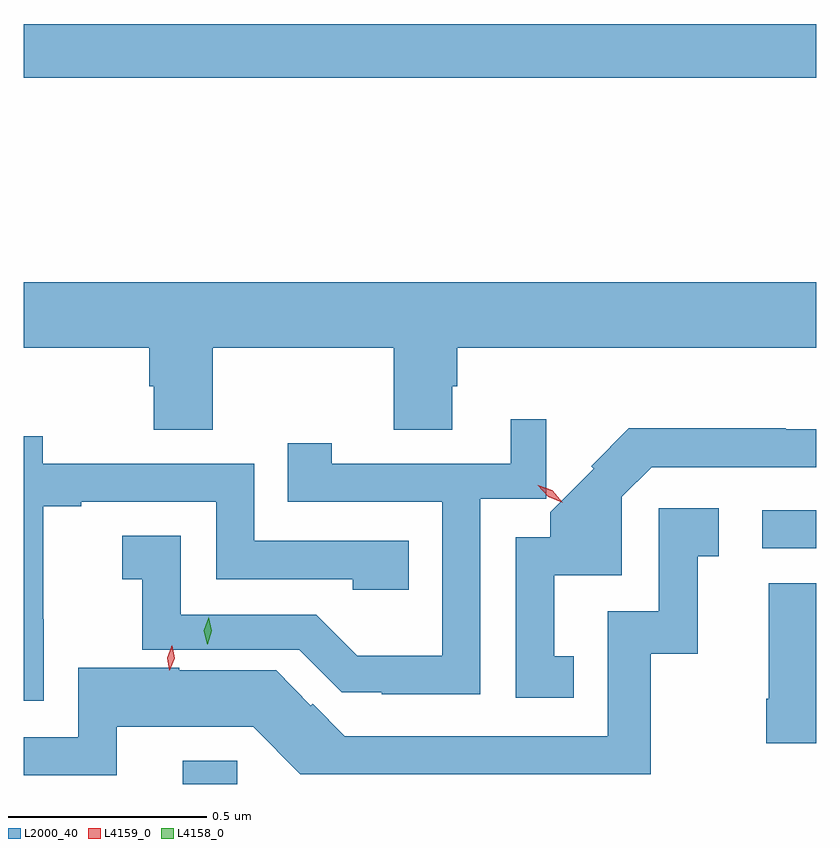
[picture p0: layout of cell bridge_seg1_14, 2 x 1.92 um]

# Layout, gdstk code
import gdstk
lib = gdstk.Library(unit=1e-6, precision=1e-09)
def R(c, l, rs):  # rectangles x0, y0, x1, y1
    for r in rs: c.add(gdstk.rectangle(r[:2], r[2:], *l))
def P(c, l, *ps):  # polygons
    for p in ps: c.add(gdstk.Polygon(p, *l))
L2000_40 = (2000, 40)
L4158_0 = (4158, 0)
L4159_0 = (4159, 0)

bridge_seg1_14 = lib.new_cell('bridge_seg1_14')
R(bridge_seg1_14, L2000_40, [(842.075,510.671,842.213,510.73), (843.537,511.266,843.674,511.362), (841.674,512.452,843.674,512.588)])
P(bridge_seg1_14, L2000_40, [(842.151,511.772),(842.608,511.772),(842.608,511.564),(842.755,511.564),(842.755,511.674),(842.768,511.674),(842.768,511.772),(843.674,511.772),(843.674,511.936),(841.674,511.936),(841.674,511.772),(841.991,511.772),(841.991,511.674),(842.003,511.674),(842.003,511.564),(842.151,511.564)],
  [(842.826,511.391),(842.993,511.391),(842.993,511.591),(842.903,511.591),(842.903,511.479),(842.452,511.479),(842.452,511.531),(842.341,511.531),(842.341,511.383),(842.73,511.383),(842.73,510.994),(842.516,510.994),(842.412,511.098),(842.07,511.098),(842.07,511.297),(841.923,511.297),(841.923,511.187),(841.974,511.187),(841.974,511.01),(842.37,511.01),(842.476,510.903),(842.578,510.903),(842.578,510.897),(842.826,510.897)],
  [(843.062,510.993),(843.013,510.993),(843.013,511.197),(843.183,511.197),(843.183,511.395),(843.258,511.47),(843.674,511.47),(843.674,511.566),(843.596,511.566),(843.596,511.568),(843.201,511.568),(843.106,511.472),(843.112,511.466),(843.002,511.356),(843.002,511.293),(842.916,511.293),(842.916,510.888),(843.062,510.888)],
  [(841.725,511.087),(841.724,511.087),(841.724,511.371),(841.819,511.371),(841.819,511.383),(842.16,511.383),(842.16,511.188),(842.505,511.188),(842.505,511.161),(842.645,511.161),(842.645,511.284),(842.256,511.284),(842.256,511.479),(841.722,511.479),(841.722,511.548),(841.674,511.548),(841.674,510.881),(841.725,510.881)],
  [(841.909,510.815),(842.253,510.815),(842.372,510.696),(843.256,510.696),(843.256,510.999),(843.374,510.999),(843.374,511.245),(843.427,511.245),(843.427,511.366),(843.276,511.366),(843.276,511.107),(843.147,511.107),(843.147,510.792),(842.484,510.792),(842.403,510.873),(842.399,510.869),(842.311,510.958),(842.067,510.958),(842.067,510.964),(841.812,510.964),(841.812,510.789),(841.674,510.789),(841.674,510.693),(841.909,510.693)],
  [(843.674,511.177),(843.554,511.177),(843.554,510.886),(843.547,510.886),(843.547,510.774),(843.674,510.774)])
P(bridge_seg1_14, L4158_0, [(842.137,511.023),(842.137,511.023),(842.129,511.058),(842.141,511.092),(842.141,511.092),(842.141,511.092),(842.149,511.057),(842.138,511.023)])
P(bridge_seg1_14, L4159_0, [(843.034,511.381),(842.997,511.395),(842.971,511.425),(842.971,511.425),(842.972,511.425),(843.008,511.412),(843.034,511.381),(843.034,511.381)],
  [(842.042,510.958),(842.042,510.958),(842.036,510.99),(842.048,511.02),(842.049,511.02),(842.049,511.02),(842.056,510.988),(842.043,510.958)])

lib.write_gds('bridge_seg1_14.gds')
